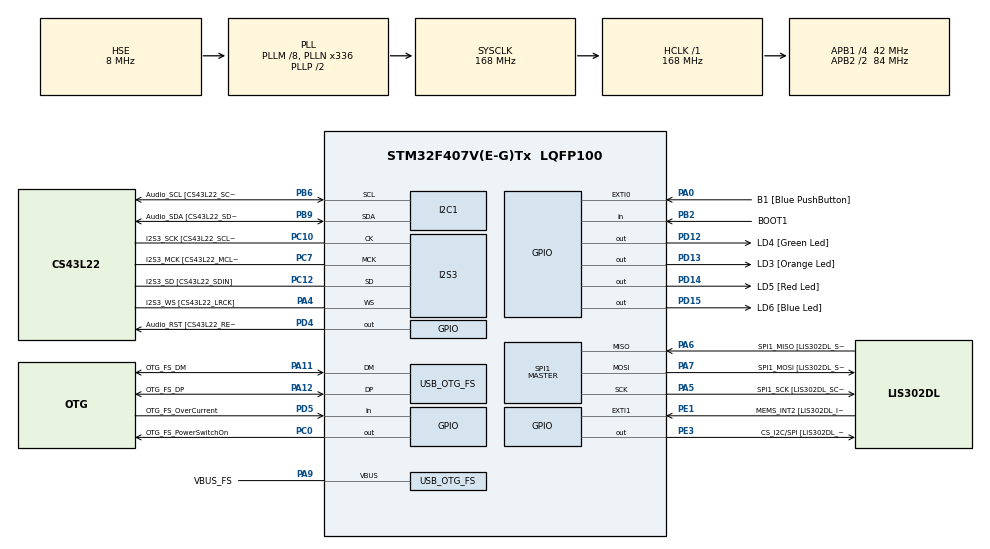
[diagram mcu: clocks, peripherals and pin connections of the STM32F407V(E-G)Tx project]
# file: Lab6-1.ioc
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FREERTOS.Tasks01=defaultTask,0,128,StartDefaultTask,Default,NULL
I2S3.AudioFreq-Half_Duplex_Master=I2S_AUDIOFREQ_96K
I2S3.ErrorAudioFreq=-2.34 %
I2S3.ErrorAudioFreq-Half_Duplex_Master=0.8 %
I2S3.FullDuplexMode=I2S_FULLDUPLEXMODE_DISABLE
I2S3.Instance=SPI$Index
I2S3.RealAudioFreq=93.75 KHz
I2S3.RealAudioFreq-Half_Duplex_Master=96.774 KHz
I2S3.VirtualMode=I2S_MODE_MASTER
Mcu.Family=STM32F4
Mcu.Name=STM32F407V(E-G)Tx
Mcu.Package=LQFP100
NVIC.OTG_FS_IRQn=true\:5\:0\:false\:false\:true\:true\:true\:true
NVIC.PriorityGroup=NVIC_PRIORITYGROUP_4
PA0-WKUP.GPIO_Label=B1 [Blue PushButton]
PA0-WKUP.GPIO_ModeDefaultEXTI=GPIO_MODE_EVT_RISING
PA0-WKUP.GPIO_PuPd=GPIO_NOPULL
PA0-WKUP.Signal=GPXTI0
PA10.GPIO_Label=OTG_FS_ID
PA10.GPIO_Mode=GPIO_MODE_AF_PP
PA10.GPIO_PuPd=GPIO_NOPULL
PA10.GPIO_Speed=GPIO_SPEED_FREQ_LOW
PA10.Signal=USB_OTG_FS_ID
PA11.GPIO_Label=OTG_FS_DM
PA11.GPIO_Mode=GPIO_MODE_AF_PP
PA11.GPIO_PuPd=GPIO_NOPULL
PA11.GPIO_Speed=GPIO_SPEED_FREQ_LOW
PA11.Mode=Host_Only
PA11.Signal=USB_OTG_FS_DM
PA12.GPIO_Label=OTG_FS_DP
PA12.GPIO_Mode=GPIO_MODE_AF_PP
PA12.GPIO_PuPd=GPIO_NOPULL
PA12.GPIO_Speed=GPIO_SPEED_FREQ_LOW
PA12.Mode=Host_Only
PA12.Signal=USB_OTG_FS_DP
PA13.GPIO_Label=SWDIO
PA13.Mode=Serial_Wire
PA13.Signal=SYS_JTMS-SWDIO
PA14.GPIO_Label=SWCLK
PA14.Mode=Serial_Wire
PA14.Signal=SYS_JTCK-SWCLK
PA4.GPIO_Label=I2S3_WS [CS43L22_LRCK]
PA4.GPIO_Mode=GPIO_MODE_AF_PP
PA4.GPIO_PuPd=GPIO_NOPULL
PA4.GPIO_Speed=GPIO_SPEED_FREQ_LOW
PA4.Mode=Half_Duplex_Master
PA4.Signal=I2S3_WS
PA5.GPIO_Label=SPI1_SCK [LIS302DL_SCL/SPC]
PA5.GPIO_Mode=GPIO_MODE_AF_PP
PA5.GPIO_PuPd=GPIO_NOPULL
PA5.GPIO_Speed=GPIO_SPEED_FREQ_LOW
PA5.Mode=Full_Duplex_Master
PA5.Signal=SPI1_SCK
PA6.GPIO_Label=SPI1_MISO [LIS302DL_SDO]
PA6.GPIO_Mode=GPIO_MODE_AF_PP
PA6.GPIO_PuPd=GPIO_NOPULL
PA6.GPIO_Speed=GPIO_SPEED_FREQ_LOW
PA6.Mode=Full_Duplex_Master
PA6.Signal=SPI1_MISO
PA7.GPIO_Label=SPI1_MOSI [LIS302DL_SDA/SDI/SDO]
PA7.GPIO_Mode=GPIO_MODE_AF_PP
PA7.GPIO_PuPd=GPIO_NOPULL
PA7.GPIO_Speed=GPIO_SPEED_FREQ_LOW
PA7.Mode=Full_Duplex_Master
PA7.Signal=SPI1_MOSI
PA9.GPIO_Label=VBUS_FS
PA9.GPIO_Mode=GPIO_MODE_INPUT
PA9.GPIO_PuPd=GPIO_NOPULL
PA9.Mode=Activate_VBUS
PA9.Signal=USB_OTG_FS_VBUS
PB10.GPIO_Label=CLK_IN [MP45DT02_CLK]
PB10.GPIO_Mode=GPIO_MODE_AF_PP
PB10.GPIO_PuPd=GPIO_NOPULL
PB10.GPIO_Speed=GPIO_SPEED_FREQ_LOW
PB10.Signal=I2S2_CK
PB2.GPIO_Label=BOOT1
PB2.GPIO_Mode=GPIO_MODE_INPUT
PB2.GPIO_PuPd=GPIO_NOPULL
PB2.Signal=GPIO_Input
PB3.GPIO_Label=SWO
PB3.Signal=SYS_JTDO-SWO
PB6.GPIO_Label=Audio_SCL [CS43L22_SCL]
PB6.GPIO_Mode=GPIO_MODE_AF_OD
PB6.GPIO_PuPd=GPIO_NOPULL
PB6.GPIO_Speed=GPIO_SPEED_FREQ_LOW
PB6.Mode=I2C
PB6.Signal=I2C1_SCL
PB9.GPIO_Label=Audio_SDA [CS43L22_SDA]
PB9.GPIO_Mode=GPIO_MODE_AF_OD
PB9.GPIO_PuPd=GPIO_NOPULL
PB9.GPIO_Speed=GPIO_SPEED_FREQ_LOW
PB9.Mode=I2C
PB9.Signal=I2C1_SDA
PC0.GPIO_Label=OTG_FS_PowerSwitchOn
PC0.GPIO_PuPd=GPIO_NOPULL
PC0.GPIO_Speed=GPIO_SPEED_FREQ_LOW
PC0.PinState=GPIO_PIN_SET
PC0.Signal=GPIO_Output
PC10.GPIO_Label=I2S3_SCK [CS43L22_SCLK]
PC10.GPIO_Mode=GPIO_MODE_AF_PP
PC10.GPIO_PuPd=GPIO_NOPULL
PC10.GPIO_Speed=GPIO_SPEED_FREQ_LOW
PC10.Mode=Half_Duplex_Master
PC10.Signal=I2S3_CK
PC12.GPIO_Label=I2S3_SD [CS43L22_SDIN]
PC12.GPIO_Mode=GPIO_MODE_AF_PP
PC12.GPIO_PuPd=GPIO_NOPULL
PC12.GPIO_Speed=GPIO_SPEED_FREQ_LOW
PC12.Mode=Half_Duplex_Master
PC12.Signal=I2S3_SD
PC14-OSC32_IN.GPIO_Label=PC14-OSC32_IN
PC14-OSC32_IN.Mode=LSE-External-Oscillator
PC14-OSC32_IN.Signal=RCC_OSC32_IN
PC15-OSC32_OUT.GPIO_Label=PC15-OSC32_OUT
PC15-OSC32_OUT.Mode=LSE-External-Oscillator
PC15-OSC32_OUT.Signal=RCC_OSC32_OUT
PC3.GPIO_Label=PDM_OUT [MP45DT02_DOUT]
PC3.GPIO_Mode=GPIO_MODE_AF_PP
PC3.GPIO_PuPd=GPIO_NOPULL
PC3.GPIO_Speed=GPIO_SPEED_FREQ_LOW
PC3.Signal=I2S2_SD
PC7.GPIO_Label=I2S3_MCK [CS43L22_MCLK]
PC7.GPIO_Mode=GPIO_MODE_AF_PP
PC7.GPIO_PuPd=GPIO_NOPULL
PC7.GPIO_Speed=GPIO_SPEED_FREQ_LOW
PC7.Mode=Master_Clock_Activated
PC7.Signal=I2S3_MCK
PD12.GPIO_Label=LD4 [Green Led]
PD12.GPIO_PuPd=GPIO_NOPULL
PD12.GPIO_Speed=GPIO_SPEED_FREQ_LOW
PD12.Signal=GPIO_Output
PD13.GPIO_Label=LD3 [Orange Led]
PD13.GPIO_PuPd=GPIO_NOPULL
PD13.GPIO_Speed=GPIO_SPEED_FREQ_LOW
PD13.Signal=GPIO_Output
PD14.GPIO_Label=LD5 [Red Led]
PD14.GPIO_PuPd=GPIO_NOPULL
PD14.GPIO_Speed=GPIO_SPEED_FREQ_LOW
PD14.Signal=GPIO_Output
PD15.GPIO_Label=LD6 [Blue Led]
PD15.GPIO_PuPd=GPIO_NOPULL
PD15.GPIO_Speed=GPIO_SPEED_FREQ_LOW
PD15.Signal=GPIO_Output
PD4.GPIO_Label=Audio_RST [CS43L22_RESET]
PD4.GPIO_PuPd=GPIO_NOPULL
PD4.GPIO_Speed=GPIO_SPEED_FREQ_LOW
PD4.Signal=GPIO_Output
PD5.GPIO_Label=OTG_FS_OverCurrent
PD5.GPIO_Mode=GPIO_MODE_INPUT
PD5.GPIO_PuPd=GPIO_NOPULL
PD5.Signal=GPIO_Input
PE1.GPIO_Label=MEMS_INT2 [LIS302DL_INT2]
PE1.GPIO_ModeDefaultEXTI=GPIO_MODE_EVT_RISING
PE1.GPIO_PuPd=GPIO_NOPULL
PE1.Signal=GPXTI1
PE3.GPIO_Label=CS_I2C/SPI [LIS302DL_CS_I2C/SPI]
PE3.GPIO_PuPd=GPIO_NOPULL
PE3.GPIO_Speed=GPIO_SPEED_FREQ_LOW
PE3.Signal=GPIO_Output
PH0-OSC_IN.GPIO_Label=PH0-OSC_IN
PH0-OSC_IN.Mode=HSE-External-Oscillator
PH0-OSC_IN.Signal=RCC_OSC_IN
PH1-OSC_OUT.GPIO_Label=PH1-OSC_OUT
PH1-OSC_OUT.Mode=HSE-External-Oscillator
PH1-OSC_OUT.Signal=RCC_OSC_OUT
ProjectManager.HeapSize=0x200
ProjectManager.StackSize=0x400
ProjectManager.TargetToolchain=STM32CubeIDE
RCC.48MHZClocksFreq_Value=48000000
RCC.AHBFreq_Value=168000000
RCC.APB1CLKDivider=RCC_HCLK_DIV4
RCC.APB1Freq_Value=42000000
RCC.APB1TimFreq_Value=84000000
RCC.APB2CLKDivider=RCC_HCLK_DIV2
RCC.APB2Freq_Value=84000000
RCC.APB2TimFreq_Value=168000000
RCC.CortexFreq_Value=168000000
RCC.HCLKFreq_Value=168000000
RCC.HSE_VALUE=8000000
RCC.HSI_VALUE=16000000
RCC.PLLM=8
RCC.PLLN=336
RCC.PLLQ=7
RCC.SYSCLKFreq_VALUE=168000000
RCC.SYSCLKSource=RCC_SYSCLKSOURCE_PLLCLK
RCC.VCOOutputFreq_Value=336000000
SPI1.BaudRatePrescaler-Full_Duplex_Master=SPI_BAUDRATEPRESCALER_2
SPI1.CalculateBaudRate-Full_Duplex_Master=42.0 MBits/s
SPI1.Direction=SPI_DIRECTION_2LINES
SPI1.Mode=SPI_MODE_MASTER
SPI1.Mode-Full_Duplex_Master=SPI_MODE_MASTER
SPI1.VirtualType=VM_MASTER
USB_HOST.BSP.number=1
USB_HOST.USBH_HandleTypeDef-CDC_FS=hUsbHostFS
USB_HOST.USBH_USE_OS-CDC_FS=0
USB_HOST.VirtualModeFS=Cdc
USB_HOST0.BSP.STBoard=false
USB_HOST0.BSP.api=Unknown
USB_HOST0.BSP.i2caddr=0
USB_HOST0.BSP.i2creg=0
USB_HOST0.BSP.instance=PC0
USB_HOST0.BSP.ip=GPIO
USB_HOST0.BSP.mode=Output
USB_HOST0.BSP.name=Drive_VBUS_FS
USB_HOST0.BSP.solution=PC0
USB_OTG_FS.VirtualMode=Host_Only
USB_OTG_FS.phy_itface=HCD_PHY_EMBEDDED
VP_FREERTOS_VS_CMSIS_V1.Mode=CMSIS_V1
VP_USB_HOST_VS_USB_HOST_CDC_FS.Mode=CDC_FS
board=STM32F4DISCOVERY

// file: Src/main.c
/* USER CODE BEGIN Header */
/**
  ******************************************************************************
  * @file           : main.c
  * @brief          : Main program body
  ******************************************************************************
  * @attention
  *
  * <h2><center>&copy; Copyright (c) 2019 STMicroelectronics.
  * All rights reserved.</center></h2>
  *
  * This software component is licensed by ST under Ultimate Liberty license
  * SLA0044, the "License"; You may not use this file except in compliance with
  * the License. You may obtain a copy of the License at:
  *                             www.st.com/SLA0044
  *
  ******************************************************************************
  */
/* USER CODE END Header */

#include "main.h"
#include "cmsis_os.h"
#include "usb_host.h"

I2C_HandleTypeDef hi2c1;

I2S_HandleTypeDef hi2s3;

SPI_HandleTypeDef hspi1;

osThreadId defaultTaskHandle;

void SystemClock_Config(void);
static void MX_GPIO_Init(void);
static void MX_I2C1_Init(void);
static void MX_I2S3_Init(void);
static void MX_SPI1_Init(void);
void StartDefaultTask(void const * argument);
void StartDefaultTask1(void const * argument);
void StartDefaultTask2(void const * argument);
void StartDefaultTask3(void const * argument);
void StartDefaultTask4(void const * argument);

int main(void)
{

  /* MCU Configuration--------------------------------------------------------*/

  /* Reset of all peripherals, Initializes the Flash interface and the Systick. */
  HAL_Init();

  /* Configure the system clock */
  SystemClock_Config();

  /* Initialize all configured peripherals */
  MX_GPIO_Init();
  MX_I2C1_Init();
  MX_I2S3_Init();
  MX_SPI1_Init();

  /* Create the thread(s) */
  /* definition and creation of defaultTask */
  osThreadDef(defaultTask, StartDefaultTask, osPriorityNormal, 0, 128);
  defaultTaskHandle = osThreadCreate(osThread(defaultTask), NULL);

  /* USER CODE BEGIN RTOS_THREADS */
  /* add threads, ... */
  osThreadDef(defaultTask1, StartDefaultTask1, osPriorityNormal, 0, 128);
  defaultTaskHandle = osThreadCreate(osThread(defaultTask1), NULL);

  osThreadDef(defaultTask2, StartDefaultTask2, osPriorityNormal, 0, 128);
  defaultTaskHandle = osThreadCreate(osThread(defaultTask2), NULL);

  osThreadDef(defaultTask3, StartDefaultTask3, osPriorityNormal, 0, 128);
  defaultTaskHandle = osThreadCreate(osThread(defaultTask3), NULL);

  osThreadDef(defaultTask4, StartDefaultTask4, osPriorityNormal, 0, 128);
  defaultTaskHandle = osThreadCreate(osThread(defaultTask4), NULL);
  /* USER CODE END RTOS_THREADS */

  /* Start scheduler */
  osKernelStart();

  /* We should never get here as control is now taken by the scheduler */

  /* Infinite loop */
  while (1)
  {

  }
}

void SystemClock_Config(void)
{
  RCC_OscInitTypeDef RCC_OscInitStruct = {0};
  RCC_ClkInitTypeDef RCC_ClkInitStruct = {0};
  RCC_PeriphCLKInitTypeDef PeriphClkInitStruct = {0};

  /** Configure the main internal regulator output voltage
  */
  __HAL_RCC_PWR_CLK_ENABLE();
  __HAL_PWR_VOLTAGESCALING_CONFIG(PWR_REGULATOR_VOLTAGE_SCALE1);
  /** Initializes the CPU, AHB and APB busses clocks
  */
  RCC_OscInitStruct.OscillatorType = RCC_OSCILLATORTYPE_HSE;
  RCC_OscInitStruct.HSEState = RCC_HSE_ON;
  RCC_OscInitStruct.PLL.PLLState = RCC_PLL_ON;
  RCC_OscInitStruct.PLL.PLLSource = RCC_PLLSOURCE_HSE;
  RCC_OscInitStruct.PLL.PLLM = 8;
  RCC_OscInitStruct.PLL.PLLN = 336;
  RCC_OscInitStruct.PLL.PLLP = RCC_PLLP_DIV2;
  RCC_OscInitStruct.PLL.PLLQ = 7;
  if (HAL_RCC_OscConfig(&RCC_OscInitStruct) != HAL_OK)
  {
    Error_Handler();
  }
  /** Initializes the CPU, AHB and APB busses clocks
  */
  RCC_ClkInitStruct.ClockType = RCC_CLOCKTYPE_HCLK|RCC_CLOCKTYPE_SYSCLK
                              |RCC_CLOCKTYPE_PCLK1|RCC_CLOCKTYPE_PCLK2;
  RCC_ClkInitStruct.SYSCLKSource = RCC_SYSCLKSOURCE_PLLCLK;
  RCC_ClkInitStruct.AHBCLKDivider = RCC_SYSCLK_DIV1;
  RCC_ClkInitStruct.APB1CLKDivider = RCC_HCLK_DIV4;
  RCC_ClkInitStruct.APB2CLKDivider = RCC_HCLK_DIV2;

  if (HAL_RCC_ClockConfig(&RCC_ClkInitStruct, FLASH_LATENCY_5) != HAL_OK)
  {
    Error_Handler();
  }
  PeriphClkInitStruct.PeriphClockSelection = RCC_PERIPHCLK_I2S;
  PeriphClkInitStruct.PLLI2S.PLLI2SN = 192;
  PeriphClkInitStruct.PLLI2S.PLLI2SR = 2;
  if (HAL_RCCEx_PeriphCLKConfig(&PeriphClkInitStruct) != HAL_OK)
  {
    Error_Handler();
  }
}

static void MX_I2C1_Init(void)
{

  hi2c1.Instance = I2C1;
  hi2c1.Init.ClockSpeed = 100000;
  hi2c1.Init.DutyCycle = I2C_DUTYCYCLE_2;
  hi2c1.Init.OwnAddress1 = 0;
  hi2c1.Init.AddressingMode = I2C_ADDRESSINGMODE_7BIT;
  hi2c1.Init.DualAddressMode = I2C_DUALADDRESS_DISABLE;
  hi2c1.Init.OwnAddress2 = 0;
  hi2c1.Init.GeneralCallMode = I2C_GENERALCALL_DISABLE;
  hi2c1.Init.NoStretchMode = I2C_NOSTRETCH_DISABLE;
  if (HAL_I2C_Init(&hi2c1) != HAL_OK)
  {
    Error_Handler();
  }

}

static void MX_I2S3_Init(void)
{

  hi2s3.Instance = SPI3;
  hi2s3.Init.Mode = I2S_MODE_MASTER_TX;
  hi2s3.Init.Standard = I2S_STANDARD_PHILIPS;
  hi2s3.Init.DataFormat = I2S_DATAFORMAT_16B;
  hi2s3.Init.MCLKOutput = I2S_MCLKOUTPUT_ENABLE;
  hi2s3.Init.AudioFreq = I2S_AUDIOFREQ_96K;
  hi2s3.Init.CPOL = I2S_CPOL_LOW;
  hi2s3.Init.ClockSource = I2S_CLOCK_PLL;
  hi2s3.Init.FullDuplexMode = I2S_FULLDUPLEXMODE_DISABLE;
  if (HAL_I2S_Init(&hi2s3) != HAL_OK)
  {
    Error_Handler();
  }

}

static void MX_SPI1_Init(void)
{

  /* SPI1 parameter configuration*/
  hspi1.Instance = SPI1;
  hspi1.Init.Mode = SPI_MODE_MASTER;
  hspi1.Init.Direction = SPI_DIRECTION_2LINES;
  hspi1.Init.DataSize = SPI_DATASIZE_8BIT;
  hspi1.Init.CLKPolarity = SPI_POLARITY_LOW;
  hspi1.Init.CLKPhase = SPI_PHASE_1EDGE;
  hspi1.Init.NSS = SPI_NSS_SOFT;
  hspi1.Init.BaudRatePrescaler = SPI_BAUDRATEPRESCALER_2;
  hspi1.Init.FirstBit = SPI_FIRSTBIT_MSB;
  hspi1.Init.TIMode = SPI_TIMODE_DISABLE;
  hspi1.Init.CRCCalculation = SPI_CRCCALCULATION_DISABLE;
  hspi1.Init.CRCPolynomial = 10;
  if (HAL_SPI_Init(&hspi1) != HAL_OK)
  {
    Error_Handler();
  }

}

static void MX_GPIO_Init(void)
{
  GPIO_InitTypeDef GPIO_InitStruct = {0};

  /* GPIO Ports Clock Enable */
  __HAL_RCC_GPIOE_CLK_ENABLE();
  __HAL_RCC_GPIOC_CLK_ENABLE();
  __HAL_RCC_GPIOH_CLK_ENABLE();
  __HAL_RCC_GPIOA_CLK_ENABLE();
  __HAL_RCC_GPIOB_CLK_ENABLE();
  __HAL_RCC_GPIOD_CLK_ENABLE();

  /*Configure GPIO pin Output Level */
  HAL_GPIO_WritePin(CS_I2C_SPI_GPIO_Port, CS_I2C_SPI_Pin, GPIO_PIN_RESET);

  /*Configure GPIO pin Output Level */
  HAL_GPIO_WritePin(OTG_FS_PowerSwitchOn_GPIO_Port, OTG_FS_PowerSwitchOn_Pin, GPIO_PIN_SET);

  /*Configure GPIO pin Output Level */
  HAL_GPIO_WritePin(GPIOD, LD4_Pin|LD3_Pin|LD5_Pin|LD6_Pin
                          |Audio_RST_Pin, GPIO_PIN_RESET);

  /*Configure GPIO pin : CS_I2C_SPI_Pin */
  GPIO_InitStruct.Pin = CS_I2C_SPI_Pin;
  GPIO_InitStruct.Mode = GPIO_MODE_OUTPUT_PP;
  GPIO_InitStruct.Pull = GPIO_NOPULL;
  GPIO_InitStruct.Speed = GPIO_SPEED_FREQ_LOW;
  HAL_GPIO_Init(CS_I2C_SPI_GPIO_Port, &GPIO_InitStruct);

  /*Configure GPIO pin : OTG_FS_PowerSwitchOn_Pin */
  GPIO_InitStruct.Pin = OTG_FS_PowerSwitchOn_Pin;
  GPIO_InitStruct.Mode = GPIO_MODE_OUTPUT_PP;
  GPIO_InitStruct.Pull = GPIO_NOPULL;
  GPIO_InitStruct.Speed = GPIO_SPEED_FREQ_LOW;
  HAL_GPIO_Init(OTG_FS_PowerSwitchOn_GPIO_Port, &GPIO_InitStruct);

  /*Configure GPIO pin : PDM_OUT_Pin */
  GPIO_InitStruct.Pin = PDM_OUT_Pin;
  GPIO_InitStruct.Mode = GPIO_MODE_AF_PP;
  GPIO_InitStruct.Pull = GPIO_NOPULL;
  GPIO_InitStruct.Speed = GPIO_SPEED_FREQ_LOW;
  GPIO_InitStruct.Alternate = GPIO_AF5_SPI2;
  HAL_GPIO_Init(PDM_OUT_GPIO_Port, &GPIO_InitStruct);

  /*Configure GPIO pin : B1_Pin */
  GPIO_InitStruct.Pin = B1_Pin;
  GPIO_InitStruct.Mode = GPIO_MODE_EVT_RISING;
  GPIO_InitStruct.Pull = GPIO_NOPULL;
  HAL_GPIO_Init(B1_GPIO_Port, &GPIO_InitStruct);

  /*Configure GPIO pin : BOOT1_Pin */
  GPIO_InitStruct.Pin = BOOT1_Pin;
  GPIO_InitStruct.Mode = GPIO_MODE_INPUT;
  GPIO_InitStruct.Pull = GPIO_NOPULL;
  HAL_GPIO_Init(BOOT1_GPIO_Port, &GPIO_InitStruct);

  /*Configure GPIO pin : CLK_IN_Pin */
  GPIO_InitStruct.Pin = CLK_IN_Pin;
  GPIO_InitStruct.Mode = GPIO_MODE_AF_PP;
  GPIO_InitStruct.Pull = GPIO_NOPULL;
  GPIO_InitStruct.Speed = GPIO_SPEED_FREQ_LOW;
  GPIO_InitStruct.Alternate = GPIO_AF5_SPI2;
  HAL_GPIO_Init(CLK_IN_GPIO_Port, &GPIO_InitStruct);

  /*Configure GPIO pins : LD4_Pin LD3_Pin LD5_Pin LD6_Pin
                           Audio_RST_Pin */
  GPIO_InitStruct.Pin = LD4_Pin|LD3_Pin|LD5_Pin|LD6_Pin
                          |Audio_RST_Pin;
  GPIO_InitStruct.Mode = GPIO_MODE_OUTPUT_PP;
  GPIO_InitStruct.Pull = GPIO_NOPULL;
  GPIO_InitStruct.Speed = GPIO_SPEED_FREQ_LOW;
  HAL_GPIO_Init(GPIOD, &GPIO_InitStruct);

  /*Configure GPIO pin : OTG_FS_OverCurrent_Pin */
  GPIO_InitStruct.Pin = OTG_FS_OverCurrent_Pin;
  GPIO_InitStruct.Mode = GPIO_MODE_INPUT;
  GPIO_InitStruct.Pull = GPIO_NOPULL;
  HAL_GPIO_Init(OTG_FS_OverCurrent_GPIO_Port, &GPIO_InitStruct);

  /*Configure GPIO pin : MEMS_INT2_Pin */
  GPIO_InitStruct.Pin = MEMS_INT2_Pin;
  GPIO_InitStruct.Mode = GPIO_MODE_EVT_RISING;
  GPIO_InitStruct.Pull = GPIO_NOPULL;
  HAL_GPIO_Init(MEMS_INT2_GPIO_Port, &GPIO_InitStruct);

}

/* USER CODE BEGIN Header_StartDefaultTask */
/**
  * @brief  Function implementing the defaultTask thread.
  * @param  argument: Not used
  * @retval None
  */
void StartDefaultTask1(void const * argument)
{

  /* init code for USB_HOST */
  MX_USB_HOST_Init();

  /* USER CODE BEGIN 5 */
  /* Infinite loop */
  for(;;)
  {
	HAL_GPIO_TogglePin(GPIOD, GPIO_PIN_12);
    osDelay(50);
  }
  /* USER CODE END 5 */
}
void StartDefaultTask2(void const * argument)
{

  /* init code for USB_HOST */
  MX_USB_HOST_Init();

  /* USER CODE BEGIN 5 */
  /* Infinite loop */
  for(;;)
  {
	  HAL_GPIO_TogglePin(GPIOD, GPIO_PIN_13);
	  osDelay(18);
  }
  /* USER CODE END 5 */
}
void StartDefaultTask3(void const * argument)
{

  /* init code for USB_HOST */
  MX_USB_HOST_Init();

  /* USER CODE BEGIN 5 */
  /* Infinite loop */
  for(;;)
  {
	  HAL_GPIO_TogglePin(GPIOD, GPIO_PIN_14);
	   osDelay(128);
  }
  /* USER CODE END 5 */
}
void StartDefaultTask4(void const * argument)
{

  /* init code for USB_HOST */
  MX_USB_HOST_Init();

  /* USER CODE BEGIN 5 */
  /* Infinite loop */
  for(;;)
  {
	  HAL_GPIO_TogglePin(GPIOD, GPIO_PIN_15);
	  	  osDelay(64);
  }
  /* USER CODE END 5 */
}
/* USER CODE END Header_StartDefaultTask */
void StartDefaultTask(void const * argument)
{

  /* init code for USB_HOST */
  MX_USB_HOST_Init();

  for(;;)
  {
    osDelay(1);
  }
}

void Error_Handler(void)
{
}

/************************ (C) COPYRIGHT STMicroelectronics *****END OF FILE****/
